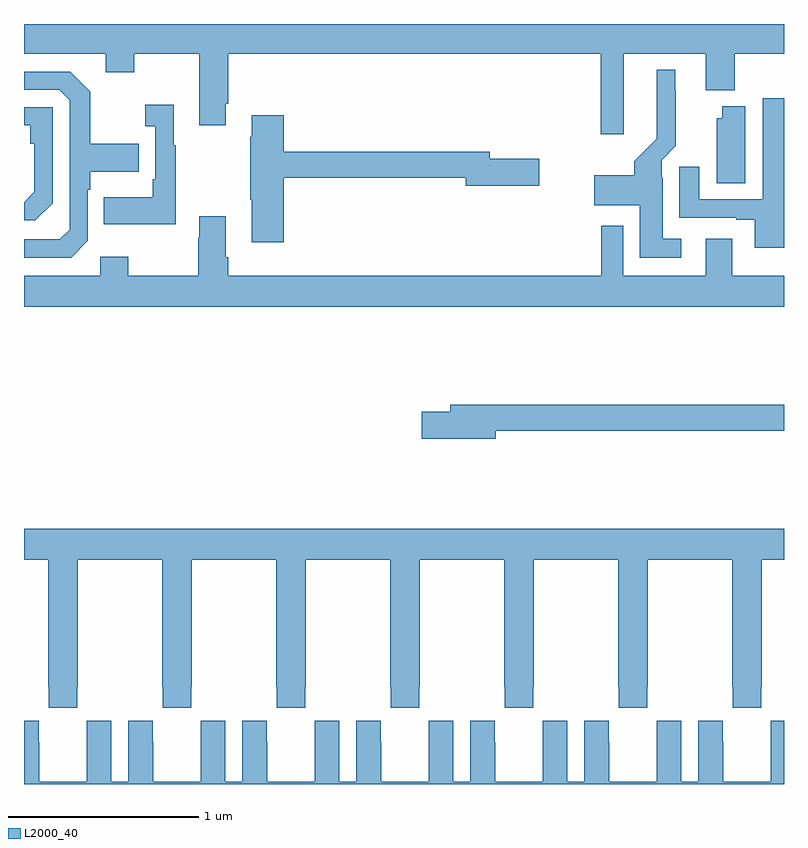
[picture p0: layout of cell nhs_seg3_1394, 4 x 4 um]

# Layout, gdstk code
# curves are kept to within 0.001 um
import gdstk
lib = gdstk.Library(unit=1e-6, precision=1e-09)
def P(c, l, *ps):  # polygons
    for p in ps: c.add(gdstk.Polygon(p, *l))
L2000_40 = (2000, 40)

nhs_seg3_1394 = lib.new_cell('nhs_seg3_1394')
P(nhs_seg3_1394, L2000_40, [(186.157,706.244),(186.587,706.244),(186.587,706.052),(186.74,706.052),(186.74,706.244),(187,706.244),(187,706.4),(183,706.4),(183,706.244),(183.431,706.244),(183.431,706.145),(183.579,706.145),(183.579,706.244),(183.923,706.244),(183.923,705.867),(184.063,705.867),(184.063,705.979),(184.076,705.979),(184.076,706.244),(186.035,706.244),(186.035,705.819),(186.157,705.819)],
  [(186.46,705.271),(186.361,705.271),(186.361,705.59),(186.357,705.59),(186.357,705.684),(186.431,705.758),(186.431,706.049),(186.427,706.049),(186.427,706.159),(186.329,706.159),(186.33,705.796),(186.212,705.678),(186.212,705.604),(186,705.604),(186,705.446),(186.242,705.446),(186.242,705.17),(186.46,705.17)],
  [(183.336,705.258),(183.336,705.527),(183.349,705.527),(183.349,705.623),(183.605,705.623),(183.605,705.771),(183.349,705.771),(183.349,706.043),(183.243,706.149),(183,706.149),(183,706.053),(183.186,706.053),(183.24,705.999),(183.24,705.318),(183.189,705.267),(183,705.267),(183,705.171),(183.249,705.171)],
  [(187,706.009),(186.887,706.009),(186.887,705.477),(186.553,705.477),(186.553,705.649),(186.449,705.649),(186.449,705.381),(186.749,705.381),(186.749,705.369),(186.845,705.369),(186.845,705.222),(187,705.222)],
  [(183.799,705.763),(183.787,705.763),(183.787,705.976),(183.639,705.976),(183.639,705.863),(183.69,705.863),(183.69,705.583),(183.678,705.583),(183.678,705.487),(183.421,705.487),(183.421,705.347),(183.799,705.347)],
  [(186.796,705.967),(186.674,705.967),(186.674,705.903),(186.647,705.903),(186.647,705.562),(186.796,705.562)],
  [(183.15,705.456),(183.15,705.963),(183,705.963),(183,705.867),(183.034,705.867),(183.034,705.77),(183.054,705.77),(183.054,705.516),(183.001,705.463),(183,705.463),(183,705.366),(183.06,705.366)],
  [(184.367,705.592),(185.324,705.592),(185.324,705.55),(185.713,705.55),(185.713,705.692),(185.452,705.692),(185.452,705.728),(184.367,705.728),(184.367,705.919),(184.199,705.919),(184.199,705.806),(184.192,705.806),(184.192,705.475),(184.199,705.475),(184.199,705.252),(184.367,705.252)],
  [(187,705.076),(186.727,705.076),(186.727,705.271),(186.587,705.271),(186.587,705.076),(186.153,705.076),(186.153,705.337),(186.037,705.337),(186.037,705.076),(184.076,705.076),(184.076,705.172),(184.063,705.172),(184.063,705.388),(183.923,705.388),(183.923,705.275),(183.916,705.275),(183.916,705.076),(183.549,705.076),(183.549,705.175),(183.402,705.175),(183.402,705.076),(183,705.076),(183,704.912),(187,704.912)],
  [(185.482,704.26),(187,704.26),(187,704.396),(185.243,704.396),(185.243,704.36),(185.094,704.36),(185.094,704.218),(185.482,704.218)],
  [(183.279,702.913),(183.282,702.913),(183.282,703.58),(183.727,703.58),(183.727,702.913),(183.729,702.913),(183.729,702.801),(183.879,702.801),(183.879,702.913),(183.882,702.913),(183.882,703.58),(184.327,703.58),(184.327,702.913),(184.329,702.913),(184.329,702.801),(184.479,702.801),(184.479,702.913),(184.482,702.913),(184.482,703.58),(184.927,703.58),(184.927,702.913),(184.929,702.913),(184.929,702.801),(185.079,702.801),(185.079,702.913),(185.082,702.913),(185.082,703.58),(185.527,703.58),(185.527,702.913),(185.529,702.913),(185.529,702.801),(185.679,702.801),(185.679,702.913),(185.682,702.913),(185.682,703.58),(186.127,703.58),(186.127,702.913),(186.129,702.913),(186.129,702.801),(186.279,702.801),(186.279,702.913),(186.282,702.913),(186.282,703.58),(186.727,703.58),(186.727,702.913),(186.729,702.913),(186.729,702.801),(186.879,702.801),(186.879,702.913),(186.882,702.913),(186.882,703.58),(187,703.58),(187,703.744),(183,703.744),(183,703.58),(183.127,703.58),(183.127,702.913),(183.129,702.913),(183.129,702.801),(183.279,702.801)],
  [(187,702.733),(186.93,702.733),(186.93,702.62),(186.929,702.62),(186.929,702.412),(186.679,702.412),(186.679,702.62),(186.678,702.62),(186.678,702.733),(186.548,702.733),(186.548,702.412),(186.46,702.412),(186.46,702.733),(186.33,702.733),(186.33,702.62),(186.329,702.62),(186.329,702.412),(186.079,702.412),(186.079,702.62),(186.078,702.62),(186.078,702.733),(185.948,702.733),(185.948,702.412),(185.86,702.412),(185.86,702.733),(185.73,702.733),(185.73,702.62),(185.729,702.62),(185.729,702.412),(185.479,702.412),(185.479,702.62),(185.478,702.62),(185.478,702.733),(185.348,702.733),(185.348,702.412),(185.26,702.412),(185.26,702.733),(185.13,702.733),(185.13,702.62),(185.129,702.62),(185.129,702.412),(184.879,702.412),(184.879,702.62),(184.878,702.62),(184.878,702.733),(184.748,702.733),(184.748,702.412),(184.66,702.412),(184.66,702.733),(184.53,702.733),(184.53,702.62),(184.529,702.62),(184.529,702.412),(184.279,702.412),(184.279,702.62),(184.278,702.62),(184.278,702.733),(184.148,702.733),(184.148,702.412),(184.06,702.412),(184.06,702.733),(183.93,702.733),(183.93,702.62),(183.929,702.62),(183.929,702.412),(183.679,702.412),(183.679,702.62),(183.678,702.62),(183.678,702.733),(183.548,702.733),(183.548,702.412),(183.46,702.412),(183.46,702.733),(183.33,702.733),(183.33,702.62),(183.329,702.62),(183.329,702.412),(183.079,702.412),(183.079,702.62),(183.078,702.62),(183.078,702.733),(183,702.733),(183,702.4),(187,702.4)])

lib.write_gds('nhs_seg3_1394.gds')
